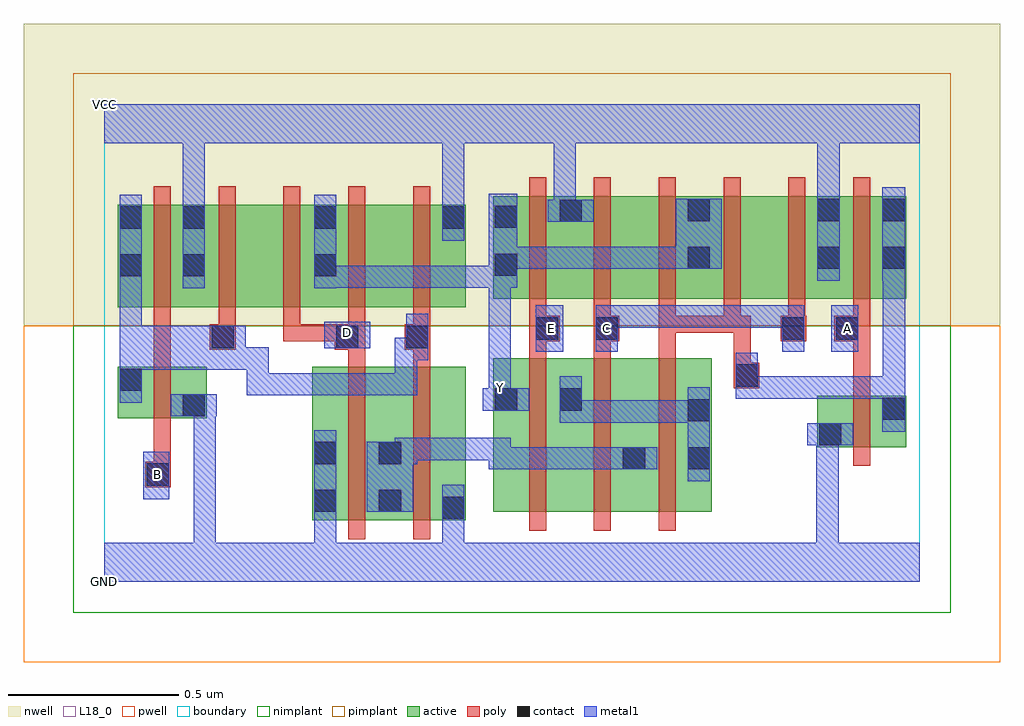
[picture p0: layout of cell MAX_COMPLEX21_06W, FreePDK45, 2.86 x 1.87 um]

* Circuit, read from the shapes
.subckt MAX_COMPLEX21_06W A B C D E GND VCC Y
M1 GND B n1 VSUBS nfet w=0.15u l=0.05u
M2 n2 D GND VSUBS nfet w=0.45u l=0.05u
M3 GND n1 n2 VSUBS nfet w=0.45u l=0.05u
M4 n3 E Y VSUBS nfet w=0.45u l=0.05u
M5 n2 C n3 VSUBS nfet w=0.45u l=0.05u
M6 n3 n4 n2 VSUBS nfet w=0.45u l=0.05u
M7 n4 A GND VSUBS nfet w=0.15u l=0.05u
M8 VCC B n1 n5 pfet w=0.3u l=0.05u
M9 n6 n1 VCC n5 pfet w=0.3u l=0.05u
M10 Y D n6 n5 pfet w=0.3u l=0.05u
M11 n7 D Y n5 pfet w=0.3u l=0.05u
M12 VCC n1 n7 n5 pfet w=0.3u l=0.05u
M13 VCC E Y n5 pfet w=0.3u l=0.05u
M14 n8 C VCC n5 pfet w=0.3u l=0.05u
M15 Y n4 n8 n5 pfet w=0.3u l=0.05u
M16 n9 n4 Y n5 pfet w=0.3u l=0.05u
M17 VCC C n9 n5 pfet w=0.3u l=0.05u
M18 n4 A VCC n5 pfet w=0.3u l=0.05u
.ends

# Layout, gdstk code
import gdstk
lib = gdstk.Library(unit=1e-6, precision=1e-09)
def R(c, l, rs):  # rectangles x0, y0, x1, y1
    for r in rs: c.add(gdstk.rectangle(r[:2], r[2:], *l))
def A(c, l, x, y, w, h, nx, ny, dx, dy):  # array of equal rectangles
    R(c, l, [(x+i*dx, y+j*dy, x+i*dx+w, y+j*dy+h) for i in range(nx) for j in range(ny)])
active = (1, 0)
pwell = (2, 0)
nwell = (3, 0)
nimplant = (4, 0)
pimplant = (5, 0)
poly = (9, 0)
contact = (10, 0)
metal1 = (11, 0)
L18_0 = (18, 0)
boundary = (235, 0)

max_complex21_06w = lib.new_cell('MAX_COMPLEX21_06W')
R(max_complex21_06w, active, [(0.61,0.18,0.875,0.63), (0.8,0.18,1.06,0.63), (0.985,0.18,1.06,0.435), (0.61,0.2,0.685,0.63), (0.8,0.2,0.875,0.542), (1.14,0.205,1.405,0.655), (1.33,0.205,1.59,0.655), (1.515,0.205,1.78,0.655), (1.14,0.245,1.215,0.655), (1.33,0.245,1.405,0.655), (1.515,0.245,1.59,0.542), (1.705,0.245,1.78,0.655), (2.09,0.395,2.165,0.545), (2.09,0.395,2.35,0.545), (2.275,0.395,2.35,0.545), (0.04,0.48,0.3,0.63), (0.225,0.48,0.3,0.63), (0.04,0.545,0.115,0.63), (0.04,0.805,0.115,1.105), (0.04,0.805,0.3,1.105), (0.225,0.805,0.3,1.105), (0.225,0.805,0.455,1.105), (0.455,0.805,0.685,1.105), (0.61,0.805,0.685,1.105), (0.61,0.805,0.835,1.105), (0.835,0.805,1.06,1.105), (0.985,0.805,1.06,1.105), (1.14,0.83,1.405,1.13), (1.14,0.83,1.215,1.13), (1.33,0.83,1.555,1.13), (1.555,0.83,1.78,1.13), (1.705,0.83,1.78,1.127), (1.705,0.83,1.935,1.13), (1.935,0.83,2.16,1.13), (2.085,0.83,2.35,1.13), (2.085,0.83,2.16,1.13), (2.275,0.83,2.35,1.127), (1.33,1.007,1.405,1.13)])
R(max_complex21_06w, pwell, [(-0.235,-0.235,2.625,0.75)])
R(max_complex21_06w, nwell, [(-0.235,0.75,2.625,1.635)])
R(max_complex21_06w, nimplant, [(-0.09,-0.09,2.48,0.75)])
R(max_complex21_06w, pimplant, [(-0.09,0.75,2.48,1.49)])
A(max_complex21_06w, poly, 1.245, 0.15, 0.05, 0.56, 3, 1, 0.19, 0)
A(max_complex21_06w, poly, 0.335, 0.705, 0.05, 0.095, 4, 1, 0.19, 0)
A(max_complex21_06w, poly, 1.245, 0.73, 0.05, 0.095, 6, 1, 0.19, 0)
A(max_complex21_06w, poly, 0.145, 0.75, 0.05, 0.41, 5, 1, 0.19, 0)
A(max_complex21_06w, poly, 1.245, 0.775, 0.05, 0.41, 6, 1, 0.19, 0)
R(max_complex21_06w, poly, [(0.715,0.125,0.765,0.685), (0.905,0.125,0.955,0.685), (0.12,0.277,0.195,0.352), (0.145,0.302,0.195,0.475), (2.195,0.34,2.245,0.6), (0.145,0.425,0.195,0.685), (2.195,0.55,2.245,0.755), (1.845,0.567,1.92,0.642), (1.845,0.592,1.895,0.78), (0.145,0.635,0.195,0.73), (0.715,0.635,0.765,0.73), (0.905,0.635,0.955,0.73), (1.245,0.66,1.295,0.755), (1.435,0.66,1.485,0.755), (1.625,0.66,1.675,0.78), (0.145,0.68,0.195,0.73), (0.145,0.68,0.195,0.8), (0.31,0.68,0.385,0.755), (0.675,0.68,0.765,0.755), (0.88,0.68,0.955,0.755), (0.525,0.705,0.575,0.755), (0.525,0.705,0.725,0.755), (0.675,0.705,0.725,0.755), (0.675,0.705,0.725,0.755), (1.245,0.705,1.335,0.78), (1.435,0.705,1.51,0.78), (1.982,0.705,2.057,0.78), (2.14,0.705,2.245,0.78), (1.625,0.73,1.675,0.78), (1.625,0.73,1.675,0.78), (1.625,0.73,1.675,0.78), (1.625,0.73,1.865,0.78), (1.815,0.73,1.865,0.78), (1.815,0.73,1.865,0.78), (1.815,0.73,1.895,0.78)])
R(max_complex21_06w, contact, [(0.99,0.185,1.055,0.25), (0.615,0.205,0.68,0.27), (0.805,0.205,0.87,0.27), (0.125,0.282,0.19,0.347), (1.52,0.33,1.585,0.395), (1.71,0.33,1.775,0.395), (0.615,0.345,0.68,0.41), (0.805,0.345,0.87,0.41), (2.095,0.4,2.16,0.465), (1.71,0.47,1.775,0.535), (2.28,0.475,2.345,0.54), (0.23,0.485,0.295,0.55), (1.145,0.502,1.21,0.567), (1.335,0.502,1.4,0.567), (0.045,0.56,0.11,0.625), (1.85,0.572,1.915,0.637), (0.315,0.685,0.38,0.75), (0.68,0.685,0.745,0.75), (0.885,0.685,0.95,0.75), (1.265,0.71,1.33,0.775), (1.44,0.71,1.505,0.775), (1.987,0.71,2.052,0.775), (2.145,0.71,2.21,0.775), (0.045,0.895,0.11,0.96), (0.23,0.895,0.295,0.96), (0.615,0.895,0.68,0.96), (1.145,0.897,1.21,0.962), (1.71,0.917,1.775,0.982), (2.09,0.917,2.155,0.982), (2.28,0.917,2.345,0.982), (0.045,1.035,0.11,1.1), (0.23,1.035,0.295,1.1), (0.615,1.035,0.68,1.1), (0.99,1.035,1.055,1.1), (1.145,1.037,1.21,1.102), (1.335,1.055,1.4,1.12), (1.71,1.057,1.775,1.122), (2.09,1.057,2.155,1.122), (2.28,1.057,2.345,1.122)])
R(max_complex21_06w, metal1, [(0,0,2.39,0.115), (0.262,0.05,0.327,0.115), (0.262,0.05,0.327,0.115), (0.262,0.05,0.327,0.115), (0.262,0.05,0.327,0.115), (0.262,0.05,0.327,0.55), (0.615,0.05,0.68,0.115), (0.615,0.05,0.68,0.115), (0.615,0.05,0.68,0.235), (0.99,0.05,1.055,0.115), (0.99,0.05,1.055,0.115), (0.99,0.05,1.055,0.215), (2.087,0.05,2.152,0.465), (0.99,0.15,1.055,0.285), (0.615,0.17,0.68,0.445), (0.77,0.205,0.905,0.41), (0.115,0.242,0.19,0.382), (1.71,0.295,1.775,0.57), (1.127,0.33,1.347,0.395), (1.127,0.33,1.192,0.422), (1.282,0.33,1.347,0.395), (1.282,0.33,1.347,0.395), (1.282,0.33,1.347,0.395), (1.282,0.33,1.55,0.395), (1.485,0.33,1.55,0.395), (1.485,0.33,1.55,0.395), (1.485,0.33,1.62,0.395), (0.84,0.345,0.917,0.41), (0.852,0.345,0.917,0.422), (0.852,0.357,1.192,0.422), (1.127,0.357,1.192,0.422), (1.127,0.357,1.192,0.422), (2.06,0.4,2.195,0.465), (2.087,0.4,2.152,0.465), (2.087,0.4,2.152,0.465), (2.087,0.4,2.152,0.465), (2.087,0.4,2.152,0.465), (2.087,0.4,2.152,0.465), (2.087,0.4,2.152,0.465), (2.28,0.44,2.347,0.602), (1.335,0.467,1.4,0.602), (1.335,0.467,1.537,0.532), (1.472,0.467,1.537,0.532), (1.472,0.467,1.537,0.532), (1.472,0.467,1.537,0.532), (1.472,0.467,1.775,0.532), (1.71,0.467,1.775,0.532), (1.71,0.467,1.775,0.532), (0.195,0.485,0.33,0.55), (0.262,0.485,0.327,0.55), (0.262,0.485,0.327,0.55), (1.11,0.502,1.245,0.567), (1.127,0.502,1.192,0.567), (1.127,0.502,1.192,0.637), (0.045,0.525,0.11,0.66), (1.85,0.537,1.915,0.672), (1.85,0.537,1.987,0.602), (1.922,0.537,1.987,0.602), (1.922,0.537,1.987,0.602), (1.922,0.537,1.987,0.602), (1.922,0.537,2.052,0.602), (1.987,0.537,2.052,0.602), (1.987,0.537,2.19,0.602), (2.125,0.537,2.19,0.602), (2.125,0.537,2.19,0.602), (2.125,0.537,2.19,0.602), (2.125,0.537,2.345,0.602), (2.282,0.537,2.347,0.947), (0.417,0.547,0.482,0.612), (0.417,0.547,0.482,0.612), (0.417,0.547,0.697,0.612), (0.417,0.547,0.482,0.687), (0.632,0.547,0.697,0.612), (0.632,0.547,0.697,0.612), (0.632,0.547,0.697,0.612), (0.632,0.547,0.917,0.612), (0.852,0.547,0.917,0.612), (0.852,0.547,0.917,0.715), (1.127,0.572,1.192,0.927), (0.045,0.595,0.11,0.66), (0.045,0.595,0.11,0.687), (0.045,0.595,0.11,0.75), (0.045,0.622,0.345,0.687), (0.28,0.622,0.345,0.687), (0.28,0.622,0.345,0.687), (0.28,0.622,0.345,0.687), (0.28,0.622,0.482,0.687), (0.852,0.65,0.917,0.715), (0.852,0.65,0.95,0.715), (0.885,0.65,0.95,0.785), (1.265,0.675,1.345,0.81), (1.44,0.675,1.505,0.81), (1.987,0.675,2.052,0.81), (2.13,0.675,2.21,0.81), (0.045,0.685,0.11,0.75), (0.045,0.685,0.11,0.75), (0.045,0.685,0.11,0.75), (0.045,0.685,0.345,0.75), (0.045,0.685,0.11,0.925), (0.28,0.685,0.345,0.75), (0.28,0.685,0.345,0.75), (0.28,0.685,0.415,0.75), (0.645,0.685,0.78,0.762), (1.44,0.745,1.537,0.81), (1.472,0.745,1.537,0.81), (1.472,0.745,1.687,0.81), (1.622,0.745,1.687,0.81), (1.622,0.745,1.687,0.81), (1.622,0.745,1.687,0.81), (1.622,0.745,1.912,0.81), (1.847,0.745,1.912,0.81), (1.847,0.745,1.912,0.81), (1.847,0.745,1.912,0.81), (1.847,0.745,2.052,0.81), (0.045,0.86,0.11,1.135), (0.23,0.86,0.295,1.135), (0.615,0.86,0.68,1.135), (0.615,0.862,0.68,0.927), (0.615,0.862,0.68,0.927), (0.615,0.862,0.917,0.927), (0.852,0.862,0.917,0.927), (0.852,0.862,0.917,0.927), (0.852,0.862,0.917,0.927), (0.852,0.862,1.192,0.927), (1.127,0.862,1.192,0.927), (1.127,0.862,1.192,0.927), (1.127,0.862,1.21,1.137), (2.09,0.882,2.155,1.157), (2.28,0.882,2.347,1.157), (2.282,0.882,2.347,0.947), (2.282,0.882,2.347,0.947), (1.145,0.917,1.347,0.982), (1.282,0.917,1.347,0.982), (1.282,0.917,1.347,0.982), (1.282,0.917,1.347,0.982), (1.282,0.917,1.55,0.982), (1.485,0.917,1.55,0.982), (1.485,0.917,1.55,0.982), (1.485,0.917,1.55,0.982), (1.485,0.917,1.74,0.982), (1.675,0.917,1.74,0.982), (1.675,0.917,1.74,0.982), (1.675,0.917,1.81,1.122), (0.99,1,1.055,1.135), (1.3,1.055,1.435,1.12), (1.317,1.055,1.382,1.12), (1.317,1.055,1.382,1.12), (1.317,1.055,1.382,1.35), (0.23,1.07,0.295,1.35), (0.99,1.07,1.055,1.35), (2.09,1.092,2.155,1.35), (0,1.285,2.39,1.4), (0.23,1.285,0.295,1.35), (0.23,1.285,0.295,1.35), (0.99,1.285,1.055,1.35), (0.99,1.285,1.055,1.35), (2.09,1.285,2.155,1.35), (2.09,1.285,2.155,1.35)])
R(max_complex21_06w, L18_0, [(0,0,2.39,0.115), (0.262,0.05,0.327,0.115), (0.262,0.05,0.327,0.115), (0.262,0.05,0.327,0.115), (0.262,0.05,0.327,0.115), (0.262,0.05,0.327,0.55), (0.615,0.05,0.68,0.115), (0.615,0.05,0.68,0.115), (0.615,0.05,0.68,0.235), (0.99,0.05,1.055,0.115), (0.99,0.05,1.055,0.115), (0.99,0.05,1.055,0.215), (2.087,0.05,2.152,0.465), (0.99,0.15,1.055,0.285), (0.615,0.17,0.68,0.445), (0.115,0.242,0.19,0.382), (0.125,0.282,0.19,0.347), (2.06,0.4,2.195,0.465), (2.087,0.4,2.152,0.465), (2.087,0.4,2.152,0.465), (2.087,0.4,2.152,0.465), (2.087,0.4,2.152,0.465), (2.087,0.4,2.152,0.465), (2.087,0.4,2.152,0.465), (0.195,0.485,0.33,0.55), (0.262,0.485,0.327,0.55), (0.262,0.485,0.327,0.55), (1.11,0.502,1.245,0.567), (1.127,0.502,1.192,0.567), (1.127,0.502,1.192,0.637), (1.127,0.537,1.192,0.602), (1.127,0.572,1.192,0.927), (1.265,0.675,1.345,0.81), (1.44,0.675,1.505,0.81), (1.987,0.675,2.052,0.81), (2.13,0.675,2.21,0.81), (0.645,0.685,0.78,0.762), (0.68,0.697,0.745,0.762), (1.28,0.71,1.345,0.775), (1.44,0.71,1.505,0.775), (2.145,0.71,2.21,0.775), (1.44,0.745,1.537,0.81), (1.472,0.745,1.537,0.81), (1.472,0.745,1.687,0.81), (1.622,0.745,1.687,0.81), (1.622,0.745,1.687,0.81), (1.622,0.745,1.687,0.81), (1.622,0.745,1.912,0.81), (1.847,0.745,1.912,0.81), (1.847,0.745,1.912,0.81), (1.847,0.745,1.912,0.81), (1.847,0.745,2.052,0.81), (0.23,0.86,0.295,1.135), (0.615,0.86,0.68,1.135), (0.615,0.862,0.68,0.927), (0.615,0.862,0.68,0.927), (0.615,0.862,0.917,0.927), (0.852,0.862,0.917,0.927), (0.852,0.862,0.917,0.927), (0.852,0.862,0.917,0.927), (0.852,0.862,1.192,0.927), (1.127,0.862,1.192,0.927), (1.127,0.862,1.192,0.927), (1.127,0.862,1.21,1.137), (2.09,0.882,2.155,1.157), (1.145,0.917,1.347,0.982), (1.282,0.917,1.347,0.982), (1.282,0.917,1.347,0.982), (1.282,0.917,1.347,0.982), (1.282,0.917,1.55,0.982), (1.485,0.917,1.55,0.982), (1.485,0.917,1.55,0.982), (1.485,0.917,1.55,0.982), (1.485,0.917,1.74,0.982), (1.675,0.917,1.74,0.982), (1.675,0.917,1.74,0.982), (1.675,0.917,1.81,1.122), (0.99,1,1.055,1.135), (1.3,1.055,1.435,1.12), (1.317,1.055,1.382,1.12), (1.317,1.055,1.382,1.12), (1.317,1.055,1.382,1.35), (0.23,1.07,0.295,1.35), (0.99,1.07,1.055,1.35), (2.09,1.092,2.155,1.35), (0,1.285,2.39,1.4), (0.23,1.285,0.295,1.35), (0.23,1.285,0.295,1.35), (0.99,1.285,1.055,1.35), (0.99,1.285,1.055,1.35), (2.09,1.285,2.155,1.35), (2.09,1.285,2.155,1.35)])
R(max_complex21_06w, boundary, [(0,0,2.39,1.4)])
max_complex21_06w.add(gdstk.Label('A', (2.177,0.742), layer=11, texttype=0))
max_complex21_06w.add(gdstk.Label('B', (0.157,0.315), layer=11, texttype=0))
max_complex21_06w.add(gdstk.Label('C', (1.472,0.742), layer=11, texttype=0))
max_complex21_06w.add(gdstk.Label('D', (0.712,0.73), layer=11, texttype=0))
max_complex21_06w.add(gdstk.Label('E', (1.312,0.742), layer=11, texttype=0))
max_complex21_06w.add(gdstk.Label('Y', (1.16,0.57), layer=11, texttype=0))
max_complex21_06w.add(gdstk.Label('VCC', (0,1.4), layer=11, texttype=0))
max_complex21_06w.add(gdstk.Label('GND', (0,0), layer=11, texttype=0))

lib.write_gds('MAX_COMPLEX21_06W.gds')
